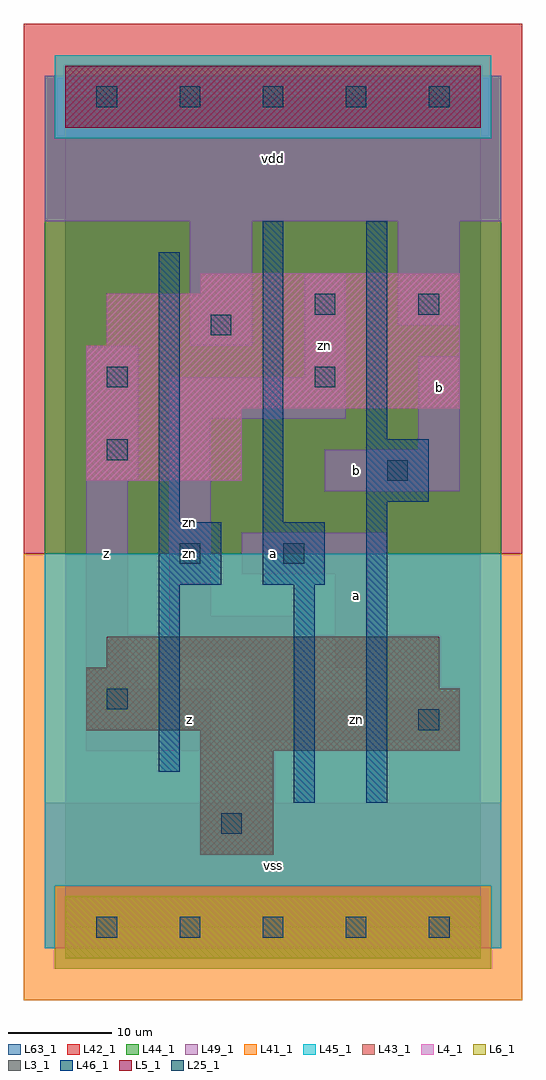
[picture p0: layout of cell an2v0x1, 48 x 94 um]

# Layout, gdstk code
import gdstk
lib = gdstk.Library(unit=1e-6, precision=1e-09)
def R(c, l, rs):  # rectangles x0, y0, x1, y1
    for r in rs: c.add(gdstk.rectangle(r[:2], r[2:], *l))
def A(c, l, x, y, w, h, nx, ny, dx, dy):  # array of equal rectangles
    R(c, l, [(x+i*dx, y+j*dy, x+i*dx+w, y+j*dy+h) for i in range(nx) for j in range(ny)])
L3_1 = (3, 1)
L4_1 = (4, 1)
L5_1 = (5, 1)
L6_1 = (6, 1)
L25_1 = (25, 1)
L41_1 = (41, 1)
L42_1 = (42, 1)
L43_1 = (43, 1)
L44_1 = (44, 1)
L45_1 = (45, 1)
L46_1 = (46, 1)
L49_1 = (49, 1)
L63_1 = (63, 1)

an2v0x1 = lib.new_cell('an2v0x1')
R(an2v0x1, L3_1, [(13,7,20,17), (13,17,38,19), (2,19,38,23), (2,23,36,25), (4,25,36,28)])
R(an2v0x1, L4_1, [(2,43,17,50), (2,50,38,56), (4,56,38,61), (13,61,38,63)])
R(an2v0x1, L5_1, [(0,77,40,83)])
R(an2v0x1, L6_1, [(0,-3,40,3), (0,-3,40,3)])
A(an2v0x1, L25_1, 3, -1, 2, 2, 5, 2, 8, 80)
R(an2v0x1, L25_1, [(15,9,17,11), (34,19,36,21), (4,21,6,23), (11,35,13,37), (21,35,23,37), (31,43,33,45), (4,45,6,47), (4,52,6,54), (24,52,26,54), (14,57,16,59), (24,59,26,61), (34,59,36,61)])
R(an2v0x1, L41_1, [(-4,-7,44,36)])
R(an2v0x1, L42_1, [(-4,36,44,87)])
R(an2v0x1, L43_1, [(0,-3,40,3), (13,7,20,17), (13,17,38,19), (2,19,38,23), (2,23,36,25), (4,25,36,28), (2,43,17,50), (2,50,38,56), (4,56,38,61), (13,61,38,63), (0,77,40,83)])
R(an2v0x1, L44_1, [(-1,-4,41,4), (-2,36,42,76), (-2,76,-1,82), (41,76,42,82)])
R(an2v0x1, L45_1, [(-2,-2,-1,4), (41,-2,42,4), (-2,4,42,36), (-1,76,41,84)])
R(an2v0x1, L46_1, [(22,12,24,33), (29,12,31,41), (9,15,11,33), (9,33,15,39), (19,33,25,39), (9,39,11,65), (19,39,21,68), (29,41,35,47), (29,47,31,68)])
R(an2v0x1, L49_1, [(-2,-2,42,12), (2,17,14,23), (18,18,38,22), (18,22,22,26), (2,23,7,25), (2,25,6,43), (26,25,31,34), (10,26,22,30), (10,30,14,49), (17,34,31,38), (25,42,38,46), (2,43,7,56), (34,46,38,55), (10,49,27,53), (23,53,27,63), (12,56,18,68), (32,58,38,68), (-2,68,42,82)])
R(an2v0x1, L63_1, [(0,0,40,80)])
an2v0x1.add(gdstk.Label('zn', (12,36), layer=49, texttype=1))
an2v0x1.add(gdstk.Label('z', (4,36), layer=49, texttype=1))
an2v0x1.add(gdstk.Label('z', (12,20), layer=49, texttype=1))
an2v0x1.add(gdstk.Label('zn', (12,39), layer=49, texttype=1))
an2v0x1.add(gdstk.Label('vss', (20,6), layer=49, texttype=1))
an2v0x1.add(gdstk.Label('a', (20,36), layer=49, texttype=1))
an2v0x1.add(gdstk.Label('a', (28,32), layer=49, texttype=1))
an2v0x1.add(gdstk.Label('b', (28,44), layer=49, texttype=1))
an2v0x1.add(gdstk.Label('zn', (25,56), layer=49, texttype=1))
an2v0x1.add(gdstk.Label('vdd', (20,74), layer=49, texttype=1))
an2v0x1.add(gdstk.Label('zn', (28,20), layer=49, texttype=1))
an2v0x1.add(gdstk.Label('b', (36,52), layer=49, texttype=1))

lib.write_gds('an2v0x1.gds')
